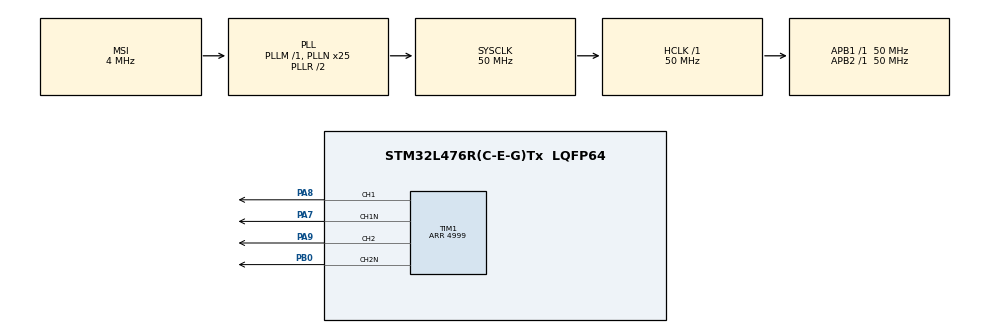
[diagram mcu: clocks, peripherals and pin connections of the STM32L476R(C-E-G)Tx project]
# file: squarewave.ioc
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Mcu.Family=STM32L4
Mcu.Name=STM32L476R(C-E-G)Tx
Mcu.Package=LQFP64
NVIC.PriorityGroup=NVIC_PRIORITYGROUP_4
NVIC.TIM1_UP_TIM16_IRQn=true\:0\:0\:false\:false\:true\:true\:true\:true
PA7.Mode=PWM Generation1 CH1 CH1N
PA7.Signal=TIM1_CH1N
PA8.Signal=S_TIM1_CH1
PA9.Signal=S_TIM1_CH2
PB0.Mode=PWM Generation2 CH2 CH2N
PB0.Signal=TIM1_CH2N
ProjectManager.HeapSize=0x200
ProjectManager.StackSize=0x400
ProjectManager.TargetToolchain=STM32CubeIDE
RCC.ADCFreq_Value=16000000
RCC.AHBFreq_Value=50000000
RCC.APB1Freq_Value=50000000
RCC.APB1TimFreq_Value=50000000
RCC.APB2Freq_Value=50000000
RCC.APB2TimFreq_Value=50000000
RCC.CortexFreq_Value=50000000
RCC.HCLKFreq_Value=50000000
RCC.HSE_VALUE=8000000
RCC.HSI_VALUE=16000000
RCC.LSE_VALUE=32768
RCC.MSI_VALUE=4000000
RCC.PLLN=25
RCC.SYSCLKFreq_VALUE=50000000
RCC.SYSCLKSource=RCC_SYSCLKSOURCE_PLLCLK
RCC.USBFreq_Value=16000000
RCC.VCOOutputFreq_Value=100000000
SH.S_TIM1_CH1.0=TIM1_CH1,PWM Generation1 CH1 CH1N
SH.S_TIM1_CH2.0=TIM1_CH2,PWM Generation2 CH2 CH2N
TIM1.AutomaticOutput=TIM_AUTOMATICOUTPUT_ENABLE
TIM1.Channel-PWM\ Generation1\ CH1\ CH1N=TIM_CHANNEL_1
TIM1.Channel-PWM\ Generation2\ CH2\ CH2N=TIM_CHANNEL_2
TIM1.DeadTime=50
TIM1.Period=4999
TIM1.TIM_MasterOutputTrigger=TIM_TRGO_UPDATE
TIM1.TIM_MasterOutputTrigger2=TIM_TRGO2_UPDATE
VP_TIM1_VS_ClockSourceINT.Mode=Internal
board=NUCLEO-L476RG

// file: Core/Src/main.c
/* USER CODE BEGIN Header */
/**
 ******************************************************************************
 * @file           : main.c
 * @brief          : Main program body
 ******************************************************************************
 * @attention
 *
 * Copyright (c) 2025 STMicroelectronics.
 * All rights reserved.
 *
 * This software is licensed under terms that can be found in the LICENSE file
 * in the root directory of this software component.
 * If no LICENSE file comes with this software, it is provided AS-IS.
 *
 ******************************************************************************
 */
/* USER CODE END Header */
#include "main.h"

/* USER CODE BEGIN Includes */

/* Variables */

/* USER CODE END Includes */

TIM_HandleTypeDef htim1;

/* USER CODE BEGIN PV */
// To store received char via interrupt
/* USER CODE END PV */

void SystemClock_Config(void);
static void MX_GPIO_Init(void);
static void MX_TIM1_Init(void);

/* USER CODE BEGIN 0 */

void HAL_TIM_PeriodElapsedCallback(TIM_HandleTypeDef *htim)
{
    static uint8_t channel = 1;
    static uint8_t first_run = 1;
    static uint16_t ccr1 = 0;
    static uint16_t ccr2 = 0;
    static int8_t direction1 = 1;
    static int8_t direction2 = 1;
    static uint8_t cycle_complete = 0;

    const uint16_t step_size = 60;  // Step size for 30Hz frequency
    const uint16_t max_value = 4999;

    if (htim->Instance == TIM1)
    {
        // Handle the first run - start with Channel 1
        if (first_run)
        {
            // Make sure only Channel 1 is active initially
            __HAL_TIM_SET_COMPARE(&htim1, TIM_CHANNEL_2, 0);

            // Ensure Channel 1 is running
            HAL_TIM_PWM_Start(&htim1, TIM_CHANNEL_1);
            HAL_TIMEx_PWMN_Start(&htim1, TIM_CHANNEL_1);

            channel = 1;
            ccr1 = 0;
            direction1 = 1;  // Start going up
            cycle_complete = 0;
            first_run = 0;
        }

        if (channel == 1)
        {
            // Update Channel 1 - Square wave logic
            if (direction1 == 1)
            {
                ccr1 += step_size;
                if (ccr1 >= max_value)
                {
                    ccr1 = max_value;  // Set to HIGH (square wave)
                    direction1 = -1;
                }
            }
            else // Going down (direction1 == -1)
            {
                if (ccr1 >= step_size)
                {
                    ccr1 -= step_size;
                }
                else
                {
                    ccr1 = 0;  // Set to LOW (square wave)
                    cycle_complete = 1;  // Full cycle completed
                }
            }

            // For square wave: Force CCR to be either 0 or max_value only
            if (ccr1 > 0)
            {
                __HAL_TIM_SET_COMPARE(&htim1, TIM_CHANNEL_1, max_value);
            }
            else
            {
                __HAL_TIM_SET_COMPARE(&htim1, TIM_CHANNEL_1, 0);
            }

            // Switch to Channel 2 only after complete cycle
            if (cycle_complete)
            {
                // Stop Channel 1
                __HAL_TIM_SET_COMPARE(&htim1, TIM_CHANNEL_1, 0);

                // Initialize and start Channel 2
                ccr2 = 0;
                direction2 = 1;  // Start going up
                __HAL_TIM_SET_COMPARE(&htim1, TIM_CHANNEL_2, 0);
                HAL_TIM_PWM_Start(&htim1, TIM_CHANNEL_2);
                HAL_TIMEx_PWMN_Start(&htim1, TIM_CHANNEL_2);

                channel = 2;
                cycle_complete = 0;
                direction1 = 1;  // Reset direction for next time
            }
        }
        else // channel == 2
        {
            // Update Channel 2 - Square wave logic
            if (direction2 == 1) // Going up
            {
                ccr2 += step_size;
                if (ccr2 >= max_value)
                {
                    ccr2 = max_value;  // Set to HIGH (square wave)
                    direction2 = -1;   // Start going down
                }
            }
            else // Going down (direction2 == -1)
            {
                if (ccr2 >= step_size)
                {
                    ccr2 -= step_size;
                }
                else
                {
                    ccr2 = 0;           // Set to LOW (square wave)
                    cycle_complete = 1;  // Full cycle completed
                }
            }

            // For square wave: Force CCR to be either 0 or max_value only
            if (ccr2 > 0)
            {
                __HAL_TIM_SET_COMPARE(&htim1, TIM_CHANNEL_2, max_value);
            }
            else
            {
                __HAL_TIM_SET_COMPARE(&htim1, TIM_CHANNEL_2, 0);
            }

            // Switch to Channel 1 only after complete cycle
            if (cycle_complete)
            {
                // Stop Channel 2
                __HAL_TIM_SET_COMPARE(&htim1, TIM_CHANNEL_2, 0);

                // Initialize and start Channel 1
                ccr1 = 0;
                direction1 = 1;  // Start going up
                __HAL_TIM_SET_COMPARE(&htim1, TIM_CHANNEL_1, 0);
                HAL_TIM_PWM_Start(&htim1, TIM_CHANNEL_1);
                HAL_TIMEx_PWMN_Start(&htim1, TIM_CHANNEL_1);

                channel = 1;
                cycle_complete = 0;
                direction2 = 1;  // Reset direction for next time
            }
        }
    }
}
//void HAL_TIM_PeriodElapsedCallback(TIM_HandleTypeDef *htim)
//{
//    static uint8_t channel = 1;
//    static uint8_t first_run = 1;
//    static uint16_t counter1 = 0;
//    static uint16_t counter2 = 0;
//    static uint8_t state1 = 0;  // 0 = LOW, 1 = HIGH
//    static uint8_t state2 = 0;  // 0 = LOW, 1 = HIGH
//    static uint8_t cycle_complete = 0;
//
//    const uint16_t step_size = 10;      // Step multiplier for 10Hz (was 1 for 1Hz)
//    const uint16_t max_value = 4999;    // Maximum PWM value
//
//    if (htim->Instance == TIM1)
//    {
//        // Handle the first run - start with Channel 1
//        if (first_run)
//        {
//            // Make sure only Channel 1 is active initially
//            __HAL_TIM_SET_COMPARE(&htim1, TIM_CHANNEL_2, 0);
//
//            // Ensure Channel 1 is running
//            HAL_TIM_PWM_Start(&htim1, TIM_CHANNEL_1);
//            HAL_TIMEx_PWMN_Start(&htim1, TIM_CHANNEL_1);
//
//            channel = 1;
//            counter1 = 0;
//            state1 = 0;
//            cycle_complete = 0;
//            first_run = 0;
//        }
//
//        if (channel == 1)
//        {
//            counter1 += step_size;  // Increment by step_size instead of 1
//
//            // Simple square wave: toggle between 0 and max_value
//            if (counter1 <= 2500)  // First half of 5000
//            {
//                __HAL_TIM_SET_COMPARE(&htim1, TIM_CHANNEL_1, max_value);  // HIGH
//                state1 = 1;
//            }
//            else
//            {
//                __HAL_TIM_SET_COMPARE(&htim1, TIM_CHANNEL_1, 0);          // LOW
//                state1 = 0;
//            }
//
//            // Complete cycle check
//            if (counter1 >= 5000)
//            {
//                cycle_complete = 1;
//                counter1 = 0;
//            }
//
//            // Switch to Channel 2 after complete cycle
//            if (cycle_complete)
//            {
//                __HAL_TIM_SET_COMPARE(&htim1, TIM_CHANNEL_1, 0);
//
//                // Start Channel 2
//                counter2 = 0;
//                state2 = 0;
//                __HAL_TIM_SET_COMPARE(&htim1, TIM_CHANNEL_2, 0);
//                HAL_TIM_PWM_Start(&htim1, TIM_CHANNEL_2);
//                HAL_TIMEx_PWMN_Start(&htim1, TIM_CHANNEL_2);
//
//                channel = 2;
//                cycle_complete = 0;
//            }
//        }
//        else // channel == 2
//        {
//            counter2 += step_size;  // Increment by step_size instead of 1
//
//            // Simple square wave: toggle between 0 and max_value
//            if (counter2 <= 2500)  // First half of 5000
//            {
//                __HAL_TIM_SET_COMPARE(&htim1, TIM_CHANNEL_2, max_value);  // HIGH
//                state2 = 1;
//            }
//            else
//            {
//                __HAL_TIM_SET_COMPARE(&htim1, TIM_CHANNEL_2, 0);          // LOW
//                state2 = 0;
//            }
//
//            // Complete cycle check
//            if (counter2 >= 5000)
//            {
//                cycle_complete = 1;
//                counter2 = 0;
//            }
//
//            // Switch to Channel 1 after complete cycle
//            if (cycle_complete)
//            {
//                __HAL_TIM_SET_COMPARE(&htim1, TIM_CHANNEL_2, 0);
//
//                // Start Channel 1
//                counter1 = 0;
//                state1 = 0;
//                __HAL_TIM_SET_COMPARE(&htim1, TIM_CHANNEL_1, 0);
//                HAL_TIM_PWM_Start(&htim1, TIM_CHANNEL_1);
//                HAL_TIMEx_PWMN_Start(&htim1, TIM_CHANNEL_1);
//
//                channel = 1;
//                cycle_complete = 0;
//            }
//        }
//    }
//}

/* USER CODE END 0 */

int main(void)
{

  /* MCU Configuration--------------------------------------------------------*/

  /* Reset of all peripherals, Initializes the Flash interface and the Systick. */
  HAL_Init();

  /* Configure the system clock */
  SystemClock_Config();

  /* Initialize all configured peripherals */
  MX_GPIO_Init();
  MX_TIM1_Init();
  /* USER CODE BEGIN 2 */

	HAL_TIM_PWM_Start(&htim1, TIM_CHANNEL_1);     // Start PWM output
	HAL_TIMEx_PWMN_Start(&htim1, TIM_CHANNEL_1);
	HAL_TIM_Base_Start_IT(&htim1);
  /* USER CODE END 2 */

  /* Infinite loop */
	while (1)
	{

	}
}

void SystemClock_Config(void)
{
  RCC_OscInitTypeDef RCC_OscInitStruct = {0};
  RCC_ClkInitTypeDef RCC_ClkInitStruct = {0};

  /** Configure the main internal regulator output voltage
  */
  if (HAL_PWREx_ControlVoltageScaling(PWR_REGULATOR_VOLTAGE_SCALE1) != HAL_OK)
  {
    Error_Handler();
  }

  /** Initializes the RCC Oscillators according to the specified parameters
  * in the RCC_OscInitTypeDef structure.
  */
  RCC_OscInitStruct.OscillatorType = RCC_OSCILLATORTYPE_MSI;
  RCC_OscInitStruct.MSIState = RCC_MSI_ON;
  RCC_OscInitStruct.MSICalibrationValue = 0;
  RCC_OscInitStruct.MSIClockRange = RCC_MSIRANGE_6;
  RCC_OscInitStruct.PLL.PLLState = RCC_PLL_ON;
  RCC_OscInitStruct.PLL.PLLSource = RCC_PLLSOURCE_MSI;
  RCC_OscInitStruct.PLL.PLLM = 1;
  RCC_OscInitStruct.PLL.PLLN = 25;
  RCC_OscInitStruct.PLL.PLLP = RCC_PLLP_DIV7;
  RCC_OscInitStruct.PLL.PLLQ = RCC_PLLQ_DIV2;
  RCC_OscInitStruct.PLL.PLLR = RCC_PLLR_DIV2;
  if (HAL_RCC_OscConfig(&RCC_OscInitStruct) != HAL_OK)
  {
    Error_Handler();
  }

  /** Initializes the CPU, AHB and APB buses clocks
  */
  RCC_ClkInitStruct.ClockType = RCC_CLOCKTYPE_HCLK|RCC_CLOCKTYPE_SYSCLK
                              |RCC_CLOCKTYPE_PCLK1|RCC_CLOCKTYPE_PCLK2;
  RCC_ClkInitStruct.SYSCLKSource = RCC_SYSCLKSOURCE_PLLCLK;
  RCC_ClkInitStruct.AHBCLKDivider = RCC_SYSCLK_DIV1;
  RCC_ClkInitStruct.APB1CLKDivider = RCC_HCLK_DIV1;
  RCC_ClkInitStruct.APB2CLKDivider = RCC_HCLK_DIV1;

  if (HAL_RCC_ClockConfig(&RCC_ClkInitStruct, FLASH_LATENCY_3) != HAL_OK)
  {
    Error_Handler();
  }
}

static void MX_TIM1_Init(void)
{

  TIM_ClockConfigTypeDef sClockSourceConfig = {0};
  TIM_MasterConfigTypeDef sMasterConfig = {0};
  TIM_OC_InitTypeDef sConfigOC = {0};
  TIM_BreakDeadTimeConfigTypeDef sBreakDeadTimeConfig = {0};

  htim1.Instance = TIM1;
  htim1.Init.Prescaler = 0;
  htim1.Init.CounterMode = TIM_COUNTERMODE_UP;
  htim1.Init.Period = 4999;
  htim1.Init.ClockDivision = TIM_CLOCKDIVISION_DIV1;
  htim1.Init.RepetitionCounter = 0;
  htim1.Init.AutoReloadPreload = TIM_AUTORELOAD_PRELOAD_DISABLE;
  if (HAL_TIM_Base_Init(&htim1) != HAL_OK)
  {
    Error_Handler();
  }
  sClockSourceConfig.ClockSource = TIM_CLOCKSOURCE_INTERNAL;
  if (HAL_TIM_ConfigClockSource(&htim1, &sClockSourceConfig) != HAL_OK)
  {
    Error_Handler();
  }
  if (HAL_TIM_PWM_Init(&htim1) != HAL_OK)
  {
    Error_Handler();
  }
  sMasterConfig.MasterOutputTrigger = TIM_TRGO_UPDATE;
  sMasterConfig.MasterOutputTrigger2 = TIM_TRGO2_UPDATE;
  sMasterConfig.MasterSlaveMode = TIM_MASTERSLAVEMODE_DISABLE;
  if (HAL_TIMEx_MasterConfigSynchronization(&htim1, &sMasterConfig) != HAL_OK)
  {
    Error_Handler();
  }
  sConfigOC.OCMode = TIM_OCMODE_PWM1;
  sConfigOC.Pulse = 0;
  sConfigOC.OCPolarity = TIM_OCPOLARITY_HIGH;
  sConfigOC.OCNPolarity = TIM_OCNPOLARITY_HIGH;
  sConfigOC.OCFastMode = TIM_OCFAST_DISABLE;
  sConfigOC.OCIdleState = TIM_OCIDLESTATE_RESET;
  sConfigOC.OCNIdleState = TIM_OCNIDLESTATE_RESET;
  if (HAL_TIM_PWM_ConfigChannel(&htim1, &sConfigOC, TIM_CHANNEL_1) != HAL_OK)
  {
    Error_Handler();
  }
  if (HAL_TIM_PWM_ConfigChannel(&htim1, &sConfigOC, TIM_CHANNEL_2) != HAL_OK)
  {
    Error_Handler();
  }
  sBreakDeadTimeConfig.OffStateRunMode = TIM_OSSR_DISABLE;
  sBreakDeadTimeConfig.OffStateIDLEMode = TIM_OSSI_DISABLE;
  sBreakDeadTimeConfig.LockLevel = TIM_LOCKLEVEL_OFF;
  sBreakDeadTimeConfig.DeadTime = 50;
  sBreakDeadTimeConfig.BreakState = TIM_BREAK_DISABLE;
  sBreakDeadTimeConfig.BreakPolarity = TIM_BREAKPOLARITY_HIGH;
  sBreakDeadTimeConfig.BreakFilter = 0;
  sBreakDeadTimeConfig.Break2State = TIM_BREAK2_DISABLE;
  sBreakDeadTimeConfig.Break2Polarity = TIM_BREAK2POLARITY_HIGH;
  sBreakDeadTimeConfig.Break2Filter = 0;
  sBreakDeadTimeConfig.AutomaticOutput = TIM_AUTOMATICOUTPUT_ENABLE;
  if (HAL_TIMEx_ConfigBreakDeadTime(&htim1, &sBreakDeadTimeConfig) != HAL_OK)
  {
    Error_Handler();
  }
  HAL_TIM_MspPostInit(&htim1);

}

static void MX_GPIO_Init(void)
{

  /* GPIO Ports Clock Enable */
  __HAL_RCC_GPIOA_CLK_ENABLE();
  __HAL_RCC_GPIOB_CLK_ENABLE();

}

void Error_Handler(void)
{
	__disable_irq();
	while (1) {
	}
}
